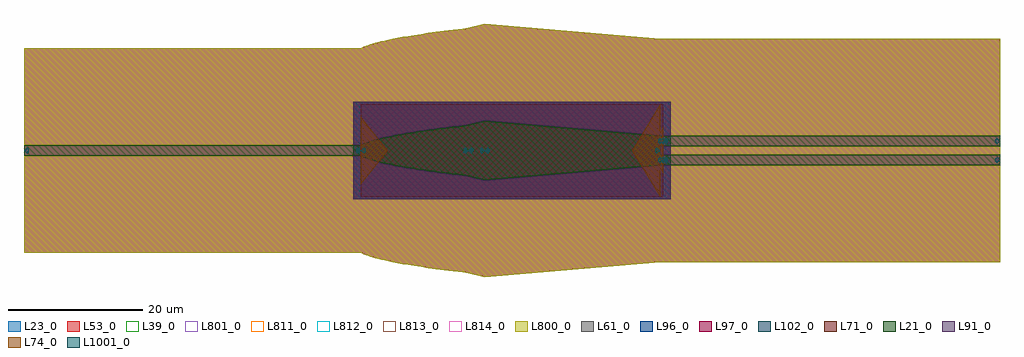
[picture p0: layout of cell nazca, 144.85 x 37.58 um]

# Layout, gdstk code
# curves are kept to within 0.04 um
import gdstk
lib = gdstk.Library(unit=1e-6, precision=1e-09)
def R(c, l, rs):  # rectangles x0, y0, x1, y1
    for r in rs: c.add(gdstk.rectangle(r[:2], r[2:], *l))
def P(c, l, *ps):  # polygons
    for p in ps: c.add(gdstk.Polygon(p, *l))
L21_0 = (21, 0)
L23_0 = (23, 0)
L39_0 = (39, 0)
L53_0 = (53, 0)
L61_0 = (61, 0)
L71_0 = (71, 0)
L74_0 = (74, 0)
L91_0 = (91, 0)
L96_0 = (96, 0)
L97_0 = (97, 0)
L102_0 = (102, 0)
L800_0 = (800, 0)
L801_0 = (801, 0)
L811_0 = (811, 0)
L812_0 = (812, 0)
L813_0 = (813, 0)
L814_0 = (814, 0)
L1001_0 = (1001, 0)

nazca = lib.new_cell('nazca')
R(nazca, L21_0, [(44.853,-2.215,94.853,-0.615), (-50,-0.8,0,0.8), (44.853,0.615,94.853,2.215)])
P(nazca, L21_0, [(44.853,-2.215),(44.398,-2.177),(44.398,-0.654),(44.853,-0.615)],
  [(44.853,0.615),(44.398,0.654),(44.398,2.177),(44.853,2.215)],
  [(18.401,-4.39),(18.401,4.39),(44.398,2.177),(44.398,-2.177)],
  [(18.401,-4.39),(15.961,-3.797),(15.961,3.797),(18.401,4.39)],
  [(15.961,-3.797),(11.734,-3.282),(7.273,-2.63),(4.131,-2.051),(1.747,-1.466),(0.68,-1.108),(0,-0.8),(0,0.8),(0.859,1.175),(2.018,1.543),(5.556,2.332),(10.081,3.057),(15.961,3.797)])
R(nazca, L23_0, [(44.853,-16.615,94.853,13.785), (-50,-15.2,0,15.2), (44.853,-13.785,94.853,16.615)])
P(nazca, L23_0, [(44.853,-16.615),(44.398,-16.577),(44.398,13.746),(44.853,13.785)],
  [(44.853,-13.785),(44.398,-13.746),(44.398,16.577),(44.853,16.615)],
  [(18.401,-18.79),(18.401,18.79),(44.398,16.577),(44.398,-16.577)],
  [(18.401,-18.79),(15.961,-18.197),(15.961,18.197),(18.401,18.79)],
  [(15.961,-18.197),(9.982,-17.442),(5.453,-16.712),(2.107,-15.968),(0.796,-15.552),(0,-15.2),(0,15.2),(0.16,15.282),(1.069,15.65),(2.107,15.968),(5.453,16.712),(9.982,17.442),(15.961,18.197)])
P(nazca, L39_0, [(18.401,-18.79),(15.961,-18.197),(9.982,-17.442),(4.755,-16.578),(1.722,-15.858),(0.796,-15.552),(0,-15.2),(-50,-15.2),(-50,15.2),(0,15.2),(0.796,15.552),(1.722,15.858),(4.755,16.578),(9.982,17.442),(15.961,18.197),(18.401,18.79),(44.398,16.577),(94.853,16.615),(94.853,-16.615),(44.398,-16.577)])
R(nazca, L53_0, [(44.853,-16.615,94.853,13.785), (-50,-15.2,0,15.2), (44.853,-13.785,94.853,16.615)])
P(nazca, L53_0, [(44.853,-16.615),(44.398,-16.577),(44.398,13.746),(44.853,13.785)],
  [(44.853,-13.785),(44.398,-13.746),(44.398,16.577),(44.853,16.615)],
  [(18.401,-18.79),(18.401,18.79),(44.398,16.577),(44.398,-16.577)],
  [(18.401,-18.79),(15.961,-18.197),(15.961,18.197),(18.401,18.79)],
  [(15.961,-18.197),(9.982,-17.442),(5.453,-16.712),(2.107,-15.968),(0.796,-15.552),(0,-15.2),(0,15.2),(0.16,15.282),(1.069,15.65),(2.107,15.968),(5.453,16.712),(9.982,17.442),(15.961,18.197)])
R(nazca, L61_0, [(-1.121,-7.234,45.975,7.234)])
R(nazca, L71_0, [(0,-6.89,44.853,6.89)])
P(nazca, L74_0, [(0,-5),(0,5),(4,0)],
  [(44.853,-0.535),(43.683,1.415),(44.853,3.366)],
  [(44.853,-3.366),(43.683,-1.415),(44.853,0.535)],
  [(44.398,-6.89),(40.264,0),(44.398,6.89)])
P(nazca, L91_0, [(-1.121,-7.234),(-1.121,-0.8),(0,-0.8),(0.859,-1.175),(2.018,-1.543),(5.556,-2.332),(10.081,-3.057),(15.961,-3.797),(18.401,-4.39),(44.398,-2.177),(45.975,-2.215),(45.975,-7.234)],
  [(44.398,-0.654),(44.398,0.654),(44.853,0.615),(45.975,0.615),(45.975,-0.615),(44.853,-0.615)],
  [(-1.121,0.8),(-1.121,7.234),(45.975,7.234),(45.975,2.215),(44.398,2.177),(18.401,4.39),(15.961,3.797),(10.081,3.057),(5.556,2.332),(2.018,1.543),(0.859,1.175),(0,0.8)])
R(nazca, L96_0, [(-1.121,-7.234,45.975,7.234)])
R(nazca, L97_0, [(-1.121,-7.234,45.975,7.234)])
R(nazca, L102_0, [(-1.121,-7.234,45.975,7.234)])
P(nazca, L800_0, [(18.401,-18.79),(15.961,-18.197),(9.982,-17.442),(4.755,-16.578),(1.722,-15.858),(0.796,-15.552),(0,-15.2),(-50,-15.2),(-50,-0.8),(0,-0.8),(0.68,-1.108),(1.747,-1.466),(5.05,-2.236),(10.081,-3.057),(15.961,-3.797),(18.401,-4.39),(44.398,-2.177),(94.853,-2.215),(94.853,-16.615),(44.398,-16.577)],
  [(44.398,-0.654),(44.398,0.654),(44.853,0.615),(94.853,0.615),(94.853,-0.615),(44.853,-0.615)],
  [(-50,0.8),(-50,15.2),(0,15.2),(0.796,15.552),(1.722,15.858),(4.755,16.578),(9.982,17.442),(15.961,18.197),(18.401,18.79),(44.398,16.577),(94.853,16.615),(94.853,2.215),(44.398,2.177),(18.401,4.39),(15.961,3.797),(10.081,3.057),(5.05,2.236),(1.747,1.466),(0.68,1.108),(0,0.8)])
P(nazca, L801_0, [(18.401,-18.79),(15.961,-18.197),(9.982,-17.442),(4.755,-16.578),(1.722,-15.858),(0.796,-15.552),(0,-15.2),(-50,-15.2),(-50,15.2),(0,15.2),(0.796,15.552),(1.722,15.858),(4.755,16.578),(9.982,17.442),(15.961,18.197),(18.401,18.79),(44.398,16.577),(94.853,16.615),(94.853,-16.615),(44.398,-16.577)])
P(nazca, L811_0, [(18.401,-18.79),(15.961,-18.197),(9.982,-17.442),(4.755,-16.578),(1.722,-15.858),(0.796,-15.552),(0,-15.2),(-50,-15.2),(-50,15.2),(0,15.2),(0.796,15.552),(1.722,15.858),(4.755,16.578),(9.982,17.442),(15.961,18.197),(18.401,18.79),(44.398,16.577),(94.853,16.615),(94.853,-16.615),(44.398,-16.577)])
P(nazca, L812_0, [(18.401,-18.79),(15.961,-18.197),(9.982,-17.442),(4.755,-16.578),(1.722,-15.858),(0.796,-15.552),(0,-15.2),(-50,-15.2),(-50,15.2),(0,15.2),(0.796,15.552),(1.722,15.858),(4.755,16.578),(9.982,17.442),(15.961,18.197),(18.401,18.79),(44.398,16.577),(94.853,16.615),(94.853,-16.615),(44.398,-16.577)])
P(nazca, L813_0, [(18.401,-18.79),(15.961,-18.197),(9.982,-17.442),(4.755,-16.578),(1.722,-15.858),(0.796,-15.552),(0,-15.2),(-50,-15.2),(-50,15.2),(0,15.2),(0.796,15.552),(1.722,15.858),(4.755,16.578),(9.982,17.442),(15.961,18.197),(18.401,18.79),(44.398,16.577),(94.853,16.615),(94.853,-16.615),(44.398,-16.577)])
P(nazca, L814_0, [(18.401,-18.79),(15.961,-18.197),(9.982,-17.442),(4.755,-16.578),(1.722,-15.858),(0.796,-15.552),(0,-15.2),(-50,-15.2),(-50,15.2),(0,15.2),(0.796,15.552),(1.722,15.858),(4.755,16.578),(9.982,17.442),(15.961,18.197),(18.401,18.79),(44.398,16.577),(94.853,16.615),(94.853,-16.615),(44.398,-16.577)])
P(nazca, L1001_0, [(94.353,-1.915),(94.353,-1.665),(94.153,-1.665),(94.153,-1.165),(94.353,-1.165),(94.353,-0.915),(94.853,-1.415)],
  [(45.353,-1.915),(44.853,-1.415),(45.353,-0.915),(45.353,-1.165),(45.553,-1.165),(45.553,-1.665),(45.353,-1.665)],
  [(94.353,0.915),(94.353,1.165),(94.153,1.165),(94.153,1.665),(94.353,1.665),(94.353,1.915),(94.853,1.415)],
  [(45.353,0.915),(44.853,1.415),(45.353,1.915),(45.353,1.665),(45.553,1.665),(45.553,1.165),(45.353,1.165)],
  [(-49.5,-0.5),(-50,0),(-49.5,0.5),(-49.5,0.25),(-49.3,0.25),(-49.3,-0.25),(-49.5,-0.25)],
  [(-0.5,-0.5),(-0.5,-0.25),(-0.7,-0.25),(-0.7,0.25),(-0.5,0.25),(-0.5,0.5),(0,0)],
  [(44.353,-1.915),(44.353,-1.665),(44.153,-1.665),(44.153,-1.165),(44.353,-1.165),(44.353,-0.915),(44.853,-1.415)],
  [(44.898,-1.915),(44.398,-1.415),(44.898,-0.915),(44.898,-1.165),(45.098,-1.165),(45.098,-1.665),(44.898,-1.665)],
  [(44.353,0.915),(44.353,1.165),(44.153,1.165),(44.153,1.665),(44.353,1.665),(44.353,1.915),(44.853,1.415)],
  [(44.898,0.915),(44.398,1.415),(44.898,1.915),(44.898,1.665),(45.098,1.665),(45.098,1.165),(44.898,1.165)],
  [(43.898,-0.5),(43.898,-0.25),(43.698,-0.25),(43.698,0.25),(43.898,0.25),(43.898,0.5),(44.398,0)],
  [(18.901,-0.5),(18.401,0),(18.901,0.5),(18.901,0.25),(19.101,0.25),(19.101,-0.25),(18.901,-0.25)],
  [(17.901,-0.5),(17.901,-0.25),(17.701,-0.25),(17.701,0.25),(17.901,0.25),(17.901,0.5),(18.401,0)],
  [(16.461,-0.5),(15.961,0),(16.461,0.5),(16.461,0.25),(16.661,0.25),(16.661,-0.25),(16.461,-0.25)],
  [(15.461,-0.5),(15.461,-0.25),(15.261,-0.25),(15.261,0.25),(15.461,0.25),(15.461,0.5),(15.961,0)],
  [(0.5,-0.5),(0,0),(0.5,0.5),(0.5,0.25),(0.7,0.25),(0.7,-0.25),(0.5,-0.25)])

lib.write_gds('nazca.gds')
